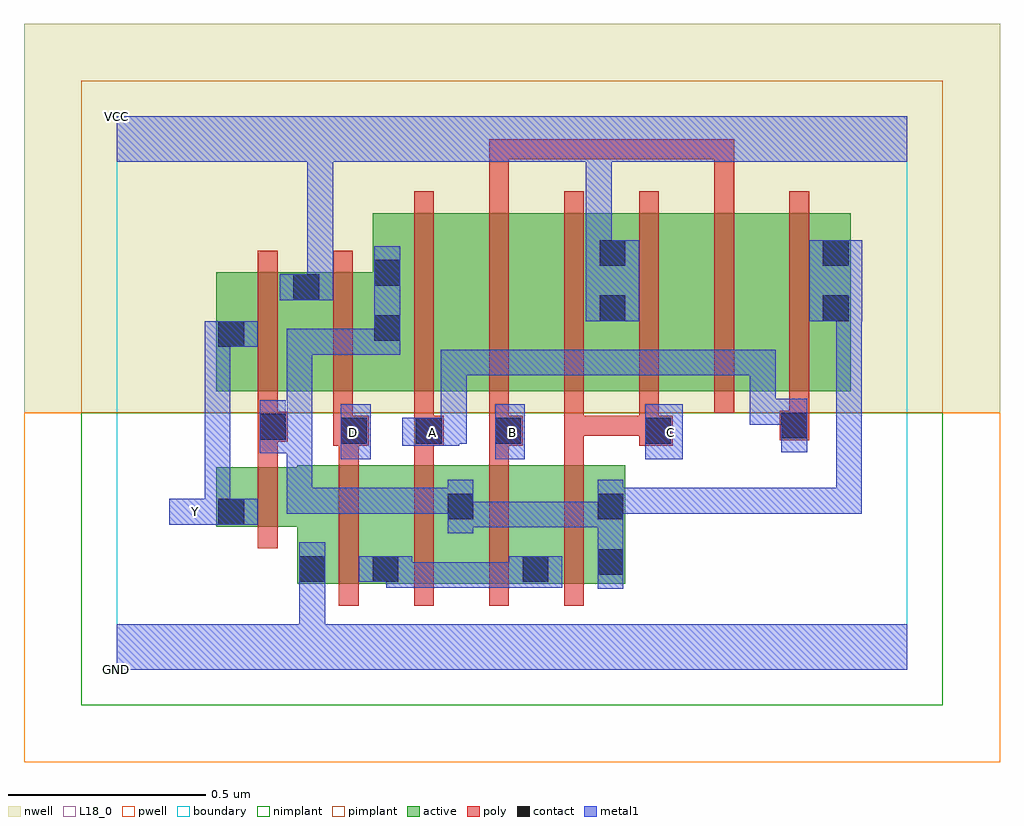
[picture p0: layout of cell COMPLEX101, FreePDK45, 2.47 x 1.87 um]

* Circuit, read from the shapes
.subckt COMPLEX101 A B C D GND VCC Y
M1 GND n1 Y VSUBS nfet w=0.15u l=0.05u
M2 n2 D GND VSUBS nfet w=0.3u l=0.05u
M3 n1 A n2 VSUBS nfet w=0.3u l=0.05u
M4 n2 B n1 VSUBS nfet w=0.3u l=0.05u
M5 n1 C n2 VSUBS nfet w=0.3u l=0.05u
M6 VCC n1 Y n3 pfet w=0.3u l=0.05u
M7 n1 D VCC n3 pfet w=0.3u l=0.05u
M8 n4 A n1 n3 pfet w=0.45u l=0.05u
M9 n5 B n4 n3 pfet w=0.45u l=0.05u
M10 VCC C n5 n3 pfet w=0.45u l=0.05u
M11 n6 C VCC n3 pfet w=0.45u l=0.05u
M12 n7 B n6 n3 pfet w=0.45u l=0.05u
M13 n1 A n7 n3 pfet w=0.45u l=0.05u
.ends

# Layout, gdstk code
import gdstk
lib = gdstk.Library(unit=1e-6, precision=1e-09)
def R(c, l, rs):  # rectangles x0, y0, x1, y1
    for r in rs: c.add(gdstk.rectangle(r[:2], r[2:], *l))
def A(c, l, x, y, w, h, nx, ny, dx, dy):  # array of equal rectangles
    R(c, l, [(x+i*dx, y+j*dy, x+i*dx+w, y+j*dy+h) for i in range(nx) for j in range(ny)])
active = (1, 0)
pwell = (2, 0)
nwell = (3, 0)
nimplant = (4, 0)
pimplant = (5, 0)
poly = (9, 0)
contact = (10, 0)
metal1 = (11, 0)
L18_0 = (18, 0)
boundary = (235, 0)

complex101 = lib.new_cell('COMPLEX101')
A(complex101, active, 0.642, 0.217, 0.265, 0.3, 3, 1, 0.19, 0)
R(complex101, active, [(0.457,0.217,0.717,0.517), (0.457,0.217,0.532,0.512), (0.642,0.217,0.717,0.392), (1.022,0.217,1.097,0.502), (1.212,0.217,1.287,0.517), (0.832,0.295,0.907,0.45), (0.252,0.362,0.532,0.512), (0.252,0.362,0.327,0.512), (0.252,0.705,0.327,1.005), (0.252,0.705,0.517,1.005), (0.442,0.705,0.722,1.005), (0.647,0.705,0.872,1.155), (0.647,0.705,0.722,1.042), (0.872,0.705,1.062,1.155), (1.062,0.705,1.292,1.155), (1.217,0.705,1.442,1.155), (1.442,0.705,1.632,1.155), (1.632,0.705,1.857,1.155), (1.782,0.705,1.857,1.155), (1.217,0.732,1.292,1.155), (0.442,0.822,0.517,1.005)])
R(complex101, pwell, [(-0.235,-0.235,2.235,0.65)])
R(complex101, nwell, [(-0.235,0.65,2.235,1.635)])
R(complex101, nimplant, [(-0.09,-0.09,2.09,0.65)])
R(complex101, pimplant, [(-0.09,0.65,2.09,1.49)])
A(complex101, poly, 0.562, 0.162, 0.05, 0.41, 4, 1, 0.19, 0)
A(complex101, poly, 0.562, 0.522, 0.05, 0.095, 3, 1, 0.19, 0)
A(complex101, poly, 0.752, 0.592, 0.05, 0.108, 4, 1, 0.19, 0)
A(complex101, poly, 0.752, 0.65, 0.05, 0.56, 6, 1, 0.19, 0)
R(complex101, poly, [(0.357,0.307,0.407,0.567), (0.357,0.517,0.407,0.627), (1.132,0.522,1.182,0.642), (0.547,0.567,0.637,0.642), (0.752,0.567,0.827,0.642), (0.942,0.567,1.027,0.642), (1.322,0.567,1.407,0.642), (0.357,0.577,0.432,0.652), (1.677,0.58,1.752,0.655), (0.547,0.592,0.597,0.7), (1.132,0.592,1.182,0.642), (1.132,0.592,1.372,0.642), (1.322,0.592,1.372,0.642), (1.322,0.592,1.372,0.642), (0.357,0.602,0.407,0.7), (1.702,0.605,1.752,0.7), (0.357,0.65,0.407,1.06), (0.547,0.65,0.597,1.06), (0.942,1.16,0.992,1.342), (1.512,1.16,1.562,1.342), (0.942,1.292,0.992,1.342), (0.942,1.292,0.992,1.342), (0.942,1.292,0.992,1.342), (0.942,1.292,1.24,1.342), (1.19,1.292,1.24,1.342), (1.19,1.292,1.372,1.342), (1.322,1.292,1.372,1.342), (1.322,1.292,1.372,1.342), (1.322,1.292,1.372,1.342), (1.322,1.292,1.562,1.342), (1.512,1.292,1.562,1.342), (1.512,1.292,1.562,1.342), (1.512,1.292,1.562,1.342)])
R(complex101, contact, [(0.462,0.222,0.527,0.287), (0.647,0.222,0.712,0.287), (1.027,0.222,1.092,0.287), (1.217,0.24,1.282,0.305), (0.257,0.367,0.322,0.432), (0.837,0.38,0.902,0.445), (1.217,0.38,1.282,0.445), (0.567,0.572,0.632,0.637), (0.757,0.572,0.822,0.637), (0.957,0.572,1.022,0.637), (1.337,0.572,1.402,0.637), (0.362,0.582,0.427,0.647), (1.682,0.585,1.747,0.65), (0.257,0.817,0.322,0.882), (0.652,0.832,0.717,0.897), (1.222,0.882,1.287,0.947), (1.787,0.882,1.852,0.947), (0.447,0.935,0.512,1), (0.652,0.972,0.717,1.037), (1.222,1.022,1.287,1.087), (1.787,1.022,1.852,1.087)])
R(complex101, metal1, [(0,0,2,0.115), (0.462,0.05,0.527,0.115), (0.462,0.05,0.527,0.115), (0.462,0.05,0.527,0.252), (0.462,0.187,0.527,0.322), (1.217,0.205,1.282,0.48), (0.682,0.207,0.885,0.272), (0.682,0.207,0.747,0.287), (0.82,0.207,0.885,0.272), (0.82,0.207,1.005,0.272), (0.94,0.207,1.005,0.272), (0.94,0.207,1.057,0.272), (0.992,0.207,1.127,0.287), (0.612,0.222,0.747,0.287), (0.682,0.222,0.747,0.287), (0.837,0.345,0.902,0.48), (0.837,0.36,1.005,0.425), (0.94,0.36,1.005,0.425), (0.94,0.36,1.04,0.425), (0.975,0.36,1.04,0.425), (0.975,0.36,1.142,0.425), (1.077,0.36,1.142,0.425), (1.077,0.36,1.282,0.425), (0.132,0.367,0.287,0.432), (0.222,0.367,0.287,0.432), (0.222,0.367,0.357,0.432), (0.222,0.367,0.287,0.882), (0.43,0.395,0.495,0.46), (0.43,0.395,0.61,0.46), (0.43,0.395,0.495,0.612), (0.545,0.395,0.61,0.46), (0.545,0.395,0.632,0.46), (0.567,0.395,0.632,0.46), (0.567,0.395,0.747,0.46), (0.682,0.395,0.747,0.46), (0.682,0.395,0.902,0.46), (1.217,0.395,1.282,0.46), (1.217,0.395,1.282,0.46), (1.217,0.395,1.53,0.46), (1.465,0.395,1.53,0.46), (1.465,0.395,1.53,0.46), (1.465,0.395,1.53,0.46), (1.465,0.395,1.68,0.46), (1.615,0.395,1.68,0.46), (1.615,0.395,1.68,0.46), (1.615,0.395,1.68,0.46), (1.615,0.395,1.885,0.46), (1.82,0.395,1.885,0.947), (1.82,0.395,1.885,0.46), (1.82,0.395,1.885,0.46), (1.82,0.395,1.885,0.46), (0.567,0.532,0.642,0.672), (0.957,0.532,1.032,0.672), (1.337,0.532,1.432,0.672), (0.362,0.547,0.427,0.682), (0.362,0.547,0.495,0.612), (0.43,0.547,0.495,0.612), (0.43,0.547,0.495,0.862), (1.682,0.55,1.747,0.685), (0.722,0.567,0.867,0.637), (0.802,0.572,0.885,0.637), (0.82,0.572,0.885,0.637), (0.82,0.572,0.885,0.81), (1.602,0.62,1.667,0.685), (1.602,0.62,1.747,0.685), (1.602,0.62,1.667,0.81), (0.82,0.745,0.885,0.81), (0.82,0.745,1.005,0.81), (0.94,0.745,1.005,0.81), (0.94,0.745,1.04,0.81), (0.975,0.745,1.04,0.81), (0.975,0.745,1.145,0.81), (1.08,0.745,1.145,0.81), (1.08,0.745,1.177,0.81), (1.112,0.745,1.177,0.81), (1.112,0.745,1.392,0.81), (1.327,0.745,1.392,0.81), (1.327,0.745,1.53,0.81), (1.465,0.745,1.53,0.81), (1.465,0.745,1.53,0.81), (1.465,0.745,1.53,0.81), (1.465,0.745,1.667,0.81), (1.602,0.745,1.667,0.81), (0.43,0.797,0.495,0.862), (0.43,0.797,0.61,0.862), (0.545,0.797,0.61,0.862), (0.545,0.797,0.717,0.862), (0.652,0.797,0.717,1.072), (0.222,0.817,0.357,0.882), (1.187,0.882,1.322,1.087), (1.752,0.882,1.887,1.087), (0.412,0.935,0.547,1), (0.482,0.935,0.547,1), (0.482,0.935,0.547,1), (0.482,0.935,0.547,1), (0.482,0.935,0.547,1), (0.482,0.935,0.547,1.35), (1.187,1.022,1.252,1.087), (1.187,1.022,1.252,1.087), (1.187,1.022,1.252,1.35), (0,1.285,2,1.4)])
A(complex101, L18_0, 0.567, 0.567, 0.065, 0.065, 3, 1, 0.2, 0)
R(complex101, L18_0, [(0,0,2,0.115), (0.462,0.05,0.527,0.115), (0.462,0.05,0.527,0.115), (0.462,0.05,0.527,0.252), (0.462,0.187,0.527,0.322), (0.132,0.367,0.287,0.432), (0.167,0.367,0.232,0.432), (0.222,0.367,0.357,0.432), (0.222,0.367,0.287,0.432), (0.222,0.367,0.287,0.882), (0.567,0.532,0.642,0.672), (0.957,0.532,1.032,0.672), (1.337,0.532,1.432,0.672), (1.682,0.55,1.747,0.685), (0.722,0.567,0.867,0.637), (1.367,0.567,1.432,0.632), (0.802,0.572,0.885,0.637), (0.82,0.572,0.885,0.637), (0.82,0.572,0.885,0.81), (1.602,0.62,1.667,0.685), (1.602,0.62,1.667,0.81), (1.602,0.62,1.747,0.685), (0.82,0.745,0.885,0.81), (0.82,0.745,1.005,0.81), (0.94,0.745,1.005,0.81), (0.94,0.745,1.04,0.81), (0.975,0.745,1.04,0.81), (0.975,0.745,1.145,0.81), (1.08,0.745,1.145,0.81), (1.08,0.745,1.177,0.81), (1.112,0.745,1.177,0.81), (1.112,0.745,1.392,0.81), (1.327,0.745,1.392,0.81), (1.327,0.745,1.53,0.81), (1.465,0.745,1.53,0.81), (1.465,0.745,1.53,0.81), (1.465,0.745,1.53,0.81), (1.465,0.745,1.667,0.81), (1.602,0.745,1.667,0.81), (0.222,0.817,0.357,0.882), (1.187,0.882,1.322,1.087), (0.412,0.935,0.547,1), (0.482,0.935,0.547,1), (0.482,0.935,0.547,1), (0.482,0.935,0.547,1), (0.482,0.935,0.547,1), (0.482,0.935,0.547,1.35), (1.187,1.022,1.252,1.087), (1.187,1.022,1.252,1.087), (1.187,1.022,1.252,1.35), (0,1.285,2,1.4)])
R(complex101, boundary, [(0,0,2,1.4)])
complex101.add(gdstk.Label('A', (0.8,0.6), layer=11, texttype=0))
complex101.add(gdstk.Label('B', (1,0.6), layer=11, texttype=0))
complex101.add(gdstk.Label('C', (1.4,0.6), layer=11, texttype=0))
complex101.add(gdstk.Label('D', (0.6,0.6), layer=11, texttype=0))
complex101.add(gdstk.Label('Y', (0.2,0.4), layer=11, texttype=0))
complex101.add(gdstk.Label('VCC', (0,1.4), layer=11, texttype=0))
complex101.add(gdstk.Label('GND', (0,0), layer=11, texttype=0))

lib.write_gds('COMPLEX101.gds')
